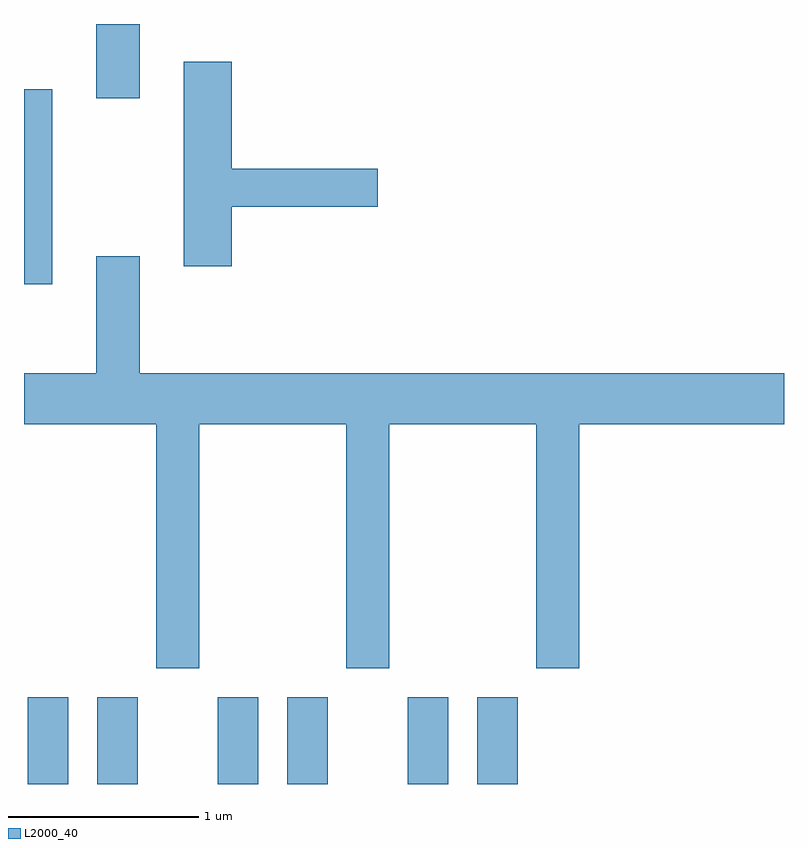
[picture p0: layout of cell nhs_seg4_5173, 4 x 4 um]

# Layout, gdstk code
import gdstk
lib = gdstk.Library(unit=1e-6, precision=1e-09)
def R(c, l, rs):  # rectangles x0, y0, x1, y1
    for r in rs: c.add(gdstk.rectangle(r[:2], r[2:], *l))
def P(c, l, *ps):  # polygons
    for p in ps: c.add(gdstk.Polygon(p, *l))
L2000_40 = (2000, 40)

nhs_seg4_5173 = lib.new_cell('nhs_seg4_5173')
R(nhs_seg4_5173, L2000_40, [(337.631,1263.982,337.844,1264.439), (337.996,1263.982,338.209,1264.439), (338.631,1263.982,338.844,1264.439), (338.996,1263.982,339.209,1264.439), (339.631,1263.982,339.844,1264.439), (339.996,1263.982,340.209,1264.439), (337.611,1266.611,337.759,1267.639), (337.991,1267.591,338.219,1267.982)])
P(nhs_seg4_5173, L2000_40, [(338.704,1267.021),(339.474,1267.021),(339.474,1267.219),(338.704,1267.219),(338.704,1267.784),(338.451,1267.784),(338.451,1266.706),(338.704,1266.706)],
  [(338.534,1265.876),(339.306,1265.876),(339.306,1264.591),(339.534,1264.591),(339.534,1265.876),(340.306,1265.876),(340.306,1264.591),(340.534,1264.591),(340.534,1265.876),(341.611,1265.876),(341.611,1266.144),(338.219,1266.144),(338.219,1266.759),(337.991,1266.759),(337.991,1266.144),(337.611,1266.144),(337.611,1265.876),(338.306,1265.876),(338.306,1264.591),(338.534,1264.591)])

lib.write_gds('nhs_seg4_5173.gds')
